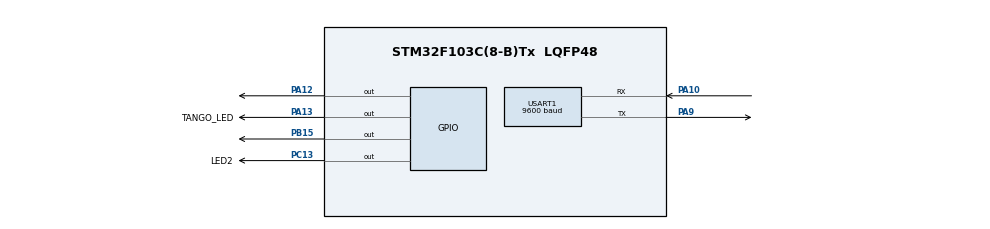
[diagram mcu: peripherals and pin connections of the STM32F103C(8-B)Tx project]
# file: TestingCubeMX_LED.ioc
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Mcu.Family=STM32F1
Mcu.Name=STM32F103C(8-B)Tx
Mcu.Package=LQFP48
NVIC.PriorityGroup=NVIC_PRIORITYGROUP_4
NVIC.USART1_IRQn=true\:0\:0\:false\:false\:true\:true\:true
PA10.Mode=Asynchronous
PA10.Signal=USART1_RX
PA12.Signal=GPIO_Output
PA13.GPIO_Label=TANGO_LED
PA13.Signal=GPIO_Output
PA9.Mode=Asynchronous
PA9.Signal=USART1_TX
PB15.Signal=GPIO_Output
PC13-TAMPER-RTC.GPIO_Label=LED2
PC13-TAMPER-RTC.Signal=GPIO_Output
ProjectManager.HeapSize=0x200
ProjectManager.StackSize=0x400
ProjectManager.TargetToolchain=MDK-ARM V5.32
RCC.APB1Freq_Value=8000000
RCC.APB2Freq_Value=8000000
USART1.BaudRate=9600
USART1.VirtualMode=VM_ASYNC
VP_SYS_VS_ND.Mode=No_Debug
board=custom

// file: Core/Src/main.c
/* USER CODE BEGIN Header */
/**
  ******************************************************************************
  * @file           : main.c
  * @brief          : Main program body
  ******************************************************************************
  * @attention
  *
  * Copyright (c) 2022 STMicroelectronics.
  * All rights reserved.
  *
  * This software is licensed under terms that can be found in the LICENSE file
  * in the root directory of this software component.
  * If no LICENSE file comes with this software, it is provided AS-IS.
  *
  ******************************************************************************
  */
/* USER CODE END Header */
#include "main.h"

/* USER CODE BEGIN Includes */
#include "MY_DHT22.h"
#include <stdio.h>
#include "gp_drive.h"
#include "systick_time.h"
#include "SPI_Drive.h"
#include "n5110_drive.h"

/* USER CODE END Includes */

UART_HandleTypeDef huart1;

void SystemClock_Config(void);
static void MX_GPIO_Init(void);
static void MX_USART1_UART_Init(void);

/* USER CODE BEGIN 0 */
float Temperature, Humidity;

/* USER CODE END 0 */

int main(void)
{

  /* MCU Configuration--------------------------------------------------------*/

  /* Reset of all peripherals, Initializes the Flash interface and the Systick. */
  HAL_Init();

  /* Configure the system clock */
  SystemClock_Config();

  /* Initialize all configured peripherals */
  MX_GPIO_Init();
  MX_USART1_UART_Init();

  /* USER CODE BEGIN 2 */

	/* AUX VARIABLES */
	char buf[50];
	char onMsg[] = "ON\n\r";
	char offMsg[] = "OFF\n\r";
	int dayCounter = 0;

	unsigned char n5110_buffer[6][84];	//6 Rows 84 Columns

	/*Systick Init*/
	//systick_init();	//For some reason, this crashes everything

	/*DHT22 Init*/
	DHT22_Init(GPIOB, GPIO_PIN_15);

	/* SPI 1 Init*/
	spi_init(1);

	/* N5110 Init */
	n5110_init(1);

	/* DISPLAY IMAGES*/
	/* INDEX
			0 = NO-DAY-SELECTED
			1 = LUNES
			2 = MARTES
			3 = MIERCOLES
			4 = JUEVES
			5 = VIERNES
			6 = SABADO
			7 = DOMINGO
	*/
	ImgType display_pic = {.h = display_rows, .w = display_cols, .x = 0, .y = 0};
	display_pic.image[0] = display;
	display_pic.image[1] = display_lunes;
	display_pic.image[2] = display_martes;
	display_pic.image[3] = display_miercoles;
	display_pic.image[4] = display_jueves;
	display_pic.image[5] = display_viernes;
	display_pic.image[6] = display_sabado;
	display_pic.image[7] = display_domingo;

	/*Welcome Screen */
	ImgType welcome_pic = {.h = welcome_screen_rows, .w = welcome_screen_cols, .x = 0, .y = 0};
	welcome_pic.image[0] = welcome_screen;

	n5110_clear();
	n5110_clear_buffer(n5110_buffer);

	/* Welcome Screen 5 seconds delay */
	n5110_update_buffer(welcome_pic, 0, n5110_buffer);
	HAL_Delay(1000);
	n5110_print_buffer(n5110_buffer);
	HAL_Delay(5000);

	n5110_update_buffer(display_pic, 0, n5110_buffer);
	/* MEMO: Con el update str buffer podes agregar una string
	si el fondo no tiene nada.
	Asi que podemos poner la hora, abajo la temperatura y humedad por separado.
		Y despues hacer el Clear de todo junto y repetir*/

	//La lectura queda en bucle infinito. Solo puedo leeer el DHT22 una UNICA vez. Sad
	if (DHT22_GetTemp_Humidity(&Temperature,&Humidity) == 1 ){
	sprintf(buf, "T %.1f H %.1f%%", Temperature, Humidity);
	HAL_UART_Transmit(&huart1,(uint8_t *)buf,strlen(buf),HAL_MAX_DELAY);
	HAL_Delay(1000);
	}

	n5110_update_str_buffer(1,6,buf,n5110_buffer);
	n5110_update_str_buffer(3,20,"HH:MM:SS",n5110_buffer);

	n5110_print_buffer(n5110_buffer);

  /* USER CODE END 2 */

  /* Infinite loop */
  /* USER CODE BEGIN WHILE */
  while (1)
  {

		/*
		//Old Display Code
		n5110_print(0,0,buf,1);
		HAL_Delay(5000); //Delay of 5s because Simulator
		toggle_GP(PA,2);
		*/

		//DelayMs(50);
		HAL_Delay(1000);

			if (DHT22_GetTemp_Humidity(&Temperature,&Humidity) == 1 ){
	sprintf(buf, "T %.1f H %.1f%%", Temperature, Humidity);
	HAL_UART_Transmit(&huart1,(uint8_t *)buf,strlen(buf),HAL_MAX_DELAY);
	HAL_Delay(1000);
	}

		/*
		spi_tx(1,'H');
		spi_tx(1,'e');
		spi_tx(1,'l');
		spi_tx(1,'l');
		spi_tx(1,'o');
		*/

		/* spi_msg(1,"Hello Dude"); */

		/* Enciendo y apago el LED PC13 indefinidamente*/
		HAL_GPIO_WritePin(GPIOC,GPIO_PIN_13,GPIO_PIN_SET);
		HAL_UART_Transmit(&huart1,(uint8_t *)onMsg,strlen(onMsg),HAL_MAX_DELAY);
		HAL_Delay(1000);

		HAL_GPIO_WritePin(GPIOC,GPIO_PIN_13,GPIO_PIN_RESET);
		HAL_UART_Transmit(&huart1,(uint8_t *)offMsg,strlen(offMsg),HAL_MAX_DELAY);
		HAL_Delay(1000);

    /* USER CODE END WHILE */

  }
}

void SystemClock_Config(void)
{
  RCC_OscInitTypeDef RCC_OscInitStruct = {0};
  RCC_ClkInitTypeDef RCC_ClkInitStruct = {0};

  /** Initializes the RCC Oscillators according to the specified parameters
  * in the RCC_OscInitTypeDef structure.
  */
  RCC_OscInitStruct.OscillatorType = RCC_OSCILLATORTYPE_HSI;
  RCC_OscInitStruct.HSIState = RCC_HSI_ON;
  RCC_OscInitStruct.HSICalibrationValue = RCC_HSICALIBRATION_DEFAULT;
  RCC_OscInitStruct.PLL.PLLState = RCC_PLL_NONE;
  if (HAL_RCC_OscConfig(&RCC_OscInitStruct) != HAL_OK)
  {
    Error_Handler();
  }
  /** Initializes the CPU, AHB and APB buses clocks
  */
  RCC_ClkInitStruct.ClockType = RCC_CLOCKTYPE_HCLK|RCC_CLOCKTYPE_SYSCLK
                              |RCC_CLOCKTYPE_PCLK1|RCC_CLOCKTYPE_PCLK2;
  RCC_ClkInitStruct.SYSCLKSource = RCC_SYSCLKSOURCE_HSI;
  RCC_ClkInitStruct.AHBCLKDivider = RCC_SYSCLK_DIV1;
  RCC_ClkInitStruct.APB1CLKDivider = RCC_HCLK_DIV1;
  RCC_ClkInitStruct.APB2CLKDivider = RCC_HCLK_DIV1;

  if (HAL_RCC_ClockConfig(&RCC_ClkInitStruct, FLASH_LATENCY_0) != HAL_OK)
  {
    Error_Handler();
  }
}

static void MX_USART1_UART_Init(void)
{

  huart1.Instance = USART1;
  huart1.Init.BaudRate = 9600;
  huart1.Init.WordLength = UART_WORDLENGTH_8B;
  huart1.Init.StopBits = UART_STOPBITS_1;
  huart1.Init.Parity = UART_PARITY_NONE;
  huart1.Init.Mode = UART_MODE_TX_RX;
  huart1.Init.HwFlowCtl = UART_HWCONTROL_NONE;
  huart1.Init.OverSampling = UART_OVERSAMPLING_16;
  if (HAL_UART_Init(&huart1) != HAL_OK)
  {
    Error_Handler();
  }

}

static void MX_GPIO_Init(void)
{
  GPIO_InitTypeDef GPIO_InitStruct = {0};

  /* GPIO Ports Clock Enable */
  __HAL_RCC_GPIOC_CLK_ENABLE();
  __HAL_RCC_GPIOB_CLK_ENABLE();
  __HAL_RCC_GPIOA_CLK_ENABLE();

  /*Configure GPIO pin Output Level */
  HAL_GPIO_WritePin(LED2_GPIO_Port, LED2_Pin, GPIO_PIN_RESET);

  /*Configure GPIO pin Output Level */
  HAL_GPIO_WritePin(GPIOB, GPIO_PIN_15, GPIO_PIN_RESET);

  /*Configure GPIO pin Output Level */
  HAL_GPIO_WritePin(GPIOA, GPIO_PIN_12|TANGO_LED_Pin, GPIO_PIN_RESET);

  /*Configure GPIO pin : LED2_Pin */
  GPIO_InitStruct.Pin = LED2_Pin;
  GPIO_InitStruct.Mode = GPIO_MODE_OUTPUT_PP;
  GPIO_InitStruct.Pull = GPIO_NOPULL;
  GPIO_InitStruct.Speed = GPIO_SPEED_FREQ_LOW;
  HAL_GPIO_Init(LED2_GPIO_Port, &GPIO_InitStruct);

  /*Configure GPIO pin : PB15 */
  GPIO_InitStruct.Pin = GPIO_PIN_15;
  GPIO_InitStruct.Mode = GPIO_MODE_OUTPUT_PP;
  GPIO_InitStruct.Pull = GPIO_NOPULL;
  GPIO_InitStruct.Speed = GPIO_SPEED_FREQ_LOW;
  HAL_GPIO_Init(GPIOB, &GPIO_InitStruct);

  /*Configure GPIO pins : PA12 TANGO_LED_Pin */
  GPIO_InitStruct.Pin = GPIO_PIN_12|TANGO_LED_Pin;
  GPIO_InitStruct.Mode = GPIO_MODE_OUTPUT_PP;
  GPIO_InitStruct.Pull = GPIO_NOPULL;
  GPIO_InitStruct.Speed = GPIO_SPEED_FREQ_LOW;
  HAL_GPIO_Init(GPIOA, &GPIO_InitStruct);

}

void Error_Handler(void)
{
  __disable_irq();
  while (1)
  {
  }
}
